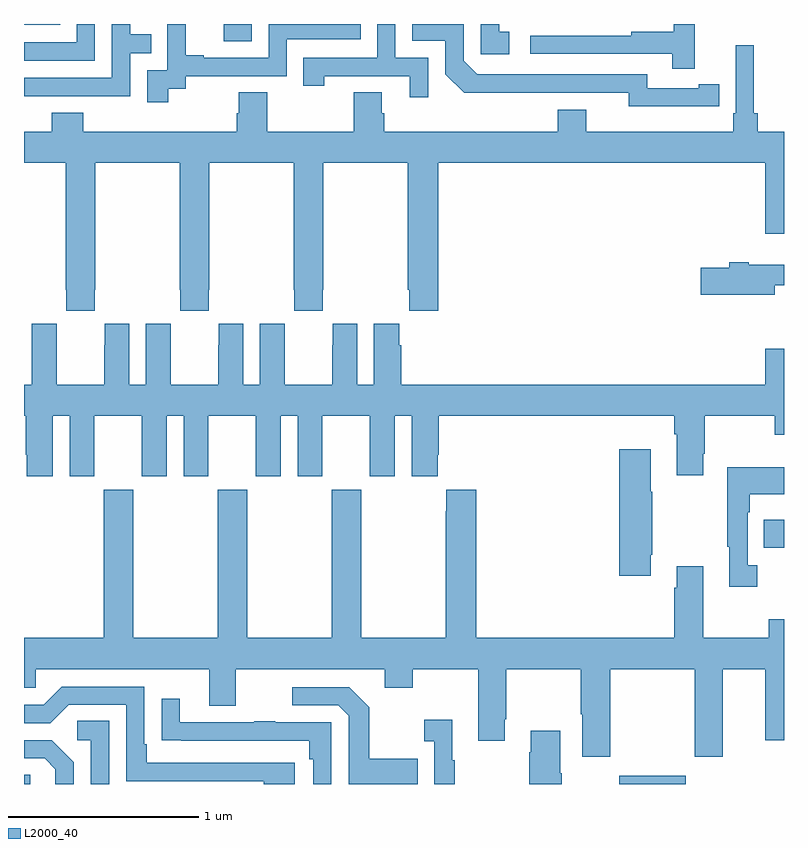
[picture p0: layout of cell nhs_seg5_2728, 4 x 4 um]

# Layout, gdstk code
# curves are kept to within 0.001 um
import gdstk
lib = gdstk.Library(unit=1e-6, precision=1e-09)
def R(c, l, rs):  # rectangles x0, y0, x1, y1
    for r in rs: c.add(gdstk.rectangle(r[:2], r[2:], *l))
def P(c, l, *ps):  # polygons
    for p in ps: c.add(gdstk.Polygon(p, *l))
L2000_40 = (2000, 40)

nhs_seg5_2728 = lib.new_cell('nhs_seg5_2728')
R(nhs_seg5_2728, L2000_40, [(269,878.799,269.034,878.849), (272.132,878.799,272.482,878.842), (272.893,880.042,273,880.189), (270.051,882.708,270.198,882.799), (269,882.794,269.192,882.799)])
P(nhs_seg5_2728, L2000_40, [(269.758,882.457),(269.85,882.457),(269.85,882.525),(270.384,882.525),(270.384,882.72),(270.773,882.72),(270.773,882.799),(270.288,882.799),(270.288,882.621),(269.947,882.621),(269.947,882.634),(269.852,882.634),(269.852,882.799),(269.753,882.799),(269.753,882.785),(269.754,882.785),(269.754,882.555),(269.649,882.555),(269.649,882.387),(269.758,882.387)],
  [(269.373,882.799),(269.277,882.799),(269.277,882.702),(269,882.702),(269,882.606),(269.373,882.606)],
  [(272.552,882.366),(272.66,882.366),(272.66,882.482),(272.552,882.482),(272.552,882.462),(272.28,882.462),(272.28,882.534),(271.386,882.534),(271.314,882.606),(271.314,882.799),(271.044,882.799),(271.044,882.711),(271.218,882.711),(271.218,882.534),(271.316,882.437),(272.184,882.438),(272.184,882.365)],
  [(272.531,882.799),(272.421,882.799),(272.421,882.758),(272.197,882.758),(272.197,882.738),(271.665,882.738),(271.665,882.642),(272.413,882.642),(272.413,882.564),(272.531,882.564)],
  [(271.128,882.621),(270.954,882.621),(270.954,882.799),(270.858,882.799),(270.858,882.621),(270.469,882.621),(270.469,882.474),(270.58,882.474),(270.58,882.525),(271.031,882.525),(271.031,882.414),(271.128,882.414)],
  [(271.555,882.759),(271.502,882.759),(271.502,882.799),(271.404,882.799),(271.404,882.639),(271.555,882.639)],
  [(269.063,882.42),(269.559,882.42),(269.559,882.645),(269.669,882.645),(269.669,882.746),(269.559,882.746),(269.559,882.799),(269.463,882.799),(269.463,882.516),(269,882.516),(269,882.419),(269.063,882.419)],
  [(269.373,881.401),(269.376,881.401),(269.376,882.068),(269.821,882.068),(269.821,881.401),(269.823,881.401),(269.823,881.289),(269.973,881.289),(269.973,881.401),(269.976,881.401),(269.976,882.068),(270.421,882.068),(270.421,881.401),(270.423,881.401),(270.423,881.289),(270.573,881.289),(270.573,881.401),(270.576,881.401),(270.576,882.068),(271.021,882.068),(271.021,881.401),(271.027,881.401),(271.027,881.289),(271.181,881.289),(271.181,882.068),(272.9,882.068),(272.9,881.694),(273,881.694),(273,882.232),(272.861,882.232),(272.861,882.328),(272.842,882.328),(272.842,882.688),(272.745,882.688),(272.745,882.328),(272.732,882.328),(272.732,882.232),(271.96,882.232),(271.96,882.349),(271.808,882.349),(271.808,882.232),(270.896,882.232),(270.896,882.33),(270.883,882.33),(270.883,882.44),(270.736,882.44),(270.736,882.232),(270.279,882.232),(270.279,882.44),(270.131,882.44),(270.131,882.33),(270.119,882.33),(270.119,882.232),(269.312,882.232),(269.312,882.331),(269.147,882.331),(269.147,882.232),(269,882.232),(269,882.068),(269.221,882.068),(269.221,881.401),(269.223,881.401),(269.223,881.289),(269.373,881.289)],
  [(272.95,881.424),(273,881.424),(273,881.533),(272.815,881.533),(272.815,881.546),(272.711,881.546),(272.711,881.516),(272.562,881.516),(272.562,881.374),(272.95,881.374)],
  [(270.154,881.221),(270.024,881.221),(270.024,881.108),(270.023,881.108),(270.023,880.9),(269.773,880.9),(269.773,881.108),(269.772,881.108),(269.772,881.221),(269.642,881.221),(269.642,880.9),(269.554,880.9),(269.554,881.221),(269.424,881.221),(269.424,881.108),(269.423,881.108),(269.423,880.9),(269.173,880.9),(269.173,881.108),(269.172,881.108),(269.172,881.221),(269.042,881.221),(269.042,880.9),(269,880.9),(269,880.736),(269.009,880.736),(269.009,880.531),(269.015,880.531),(269.015,880.419),(269.152,880.419),(269.152,880.736),(269.24,880.736),(269.24,880.419),(269.371,880.419),(269.371,880.736),(269.621,880.736),(269.621,880.419),(269.752,880.419),(269.752,880.736),(269.84,880.736),(269.84,880.419),(269.971,880.419),(269.971,880.736),(270.221,880.736),(270.221,880.419),(270.352,880.419),(270.352,880.736),(270.44,880.736),(270.44,880.419),(270.571,880.419),(270.571,880.736),(270.821,880.736),(270.821,880.419),(270.952,880.419),(270.952,880.736),(271.04,880.736),(271.04,880.419),(271.177,880.419),(271.177,880.531),(271.184,880.531),(271.184,880.736),(272.423,880.736),(272.423,880.64),(272.435,880.64),(272.435,880.425),(272.575,880.425),(272.575,880.537),(272.583,880.537),(272.583,880.736),(272.95,880.736),(272.95,880.637),(273,880.637),(273,881.089),(272.9,881.089),(272.9,880.9),(270.986,880.9),(270.986,881.108),(270.976,881.108),(270.976,881.221),(270.842,881.221),(270.842,880.9),(270.754,880.9),(270.754,881.221),(270.624,881.221),(270.624,881.108),(270.623,881.108),(270.623,880.9),(270.373,880.9),(270.373,881.108),(270.372,881.108),(270.372,881.221),(270.242,881.221),(270.242,880.9),(270.154,880.9)],
  [(272.299,880.006),(272.307,880.006),(272.307,880.337),(272.299,880.337),(272.299,880.561),(272.132,880.561),(272.132,879.894),(272.299,879.894)],
  [(272.86,879.95),(272.808,879.95),(272.808,880.229),(272.821,880.229),(272.821,880.325),(273,880.325),(273,880.465),(272.7,880.465),(272.7,880.049),(272.711,880.049),(272.711,879.837),(272.86,879.837)],
  [(270.774,880.348),(270.619,880.348),(270.619,879.568),(270.174,879.568),(270.174,880.348),(270.019,880.348),(270.019,879.568),(269.574,879.568),(269.574,880.348),(269.419,880.348),(269.419,879.568),(269,879.568),(269,879.306),(269.061,879.306),(269.061,879.404),(269.975,879.404),(269.975,879.21),(270.115,879.21),(270.115,879.404),(270.899,879.404),(270.899,879.305),(271.047,879.305),(271.047,879.404),(271.391,879.404),(271.391,879.027),(271.531,879.027),(271.531,879.139),(271.539,879.139),(271.539,879.404),(271.93,879.404),(271.93,879.166),(271.937,879.166),(271.937,878.943),(272.085,878.943),(272.085,879.404),(272.53,879.404),(272.53,878.943),(272.677,878.943),(272.677,879.404),(272.9,879.404),(272.9,879.03),(273,879.03),(273,879.667),(272.92,879.667),(272.92,879.568),(272.575,879.568),(272.575,879.946),(272.435,879.946),(272.435,879.833),(272.423,879.833),(272.423,879.568),(271.379,879.568),(271.379,880.348),(271.223,880.348),(271.223,880.235),(271.219,880.235),(271.219,879.568),(270.774,879.568)],
  [(270.424,878.91),(269.647,878.91),(269.647,879.007),(269.634,879.007),(269.634,879.312),(269.199,879.312),(269.103,879.216),(269,879.216),(269,879.12),(269.139,879.12),(269.235,879.216),(269.538,879.216),(269.538,878.814),(270.263,878.814),(270.263,878.799),(270.424,878.799)],
  [(271.073,878.931),(270.817,878.931),(270.817,879.203),(270.711,879.309),(270.411,879.309),(270.411,879.213),(270.654,879.213),(270.708,879.159),(270.708,878.799),(271.073,878.799)],
  [(270.618,879.123),(270.323,879.123),(270.323,879.128),(270.211,879.128),(270.211,879.123),(269.821,879.123),(269.821,879.247),(269.725,879.247),(269.725,879.028),(269.827,879.028),(269.827,879.027),(270.502,879.027),(270.502,878.93),(270.522,878.93),(270.522,878.799),(270.618,878.799)],
  [(271.267,878.923),(271.255,878.923),(271.255,879.136),(271.107,879.136),(271.107,879.023),(271.158,879.023),(271.158,878.799),(271.267,878.799)],
  [(269.448,879.131),(269.28,879.131),(269.28,879.03),(269.352,879.03),(269.352,878.799),(269.448,878.799)],
  [(271.83,878.855),(271.822,878.855),(271.822,879.079),(271.667,879.079),(271.667,878.966),(271.66,878.966),(271.66,878.799),(271.83,878.799)],
  [(269.262,878.914),(269.146,879.03),(269,879.03),(269,878.934),(269.108,878.934),(269.165,878.877),(269.165,878.799),(269.262,878.799)])

lib.write_gds('nhs_seg5_2728.gds')
